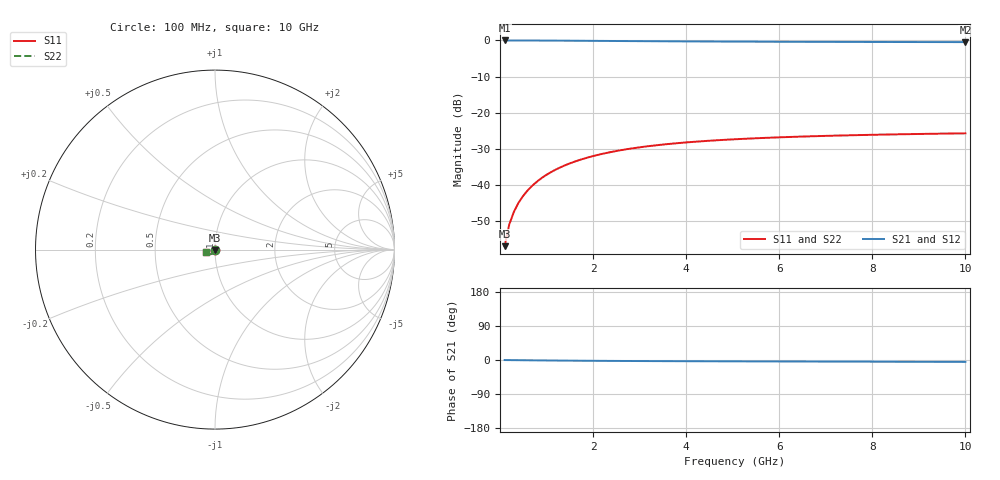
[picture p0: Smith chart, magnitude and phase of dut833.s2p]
! Touchstone file exported from HFSS 2024.1.0
!  File:  C:/UserFiles/LocalFiles/RDL_TSV_Batchsim/temp_TSV1_833_1779879455.aedt
!  Generated:  07:02:36 PM May 27, 2026
!  Design:  TSV1
!  Project:  temp_TSV1_833_1779879455
!  Setup:  Setup1
!  Solution:  Sweep
! Variables:
!  dtsv = 11.9um
!  hbump = 3um
!  htsv = 77.64um
!  lrdl = 252.1521522um
!  p = 40
!  p1 = 47.31um
!  t = 500um
!  trdl = 3um
!  wrdl = 24.89489489um
# GHz S MA R 50.000000
! Terminal data exported
! Port[1] = TSV22_T1
! Port[2] = TSV22_T2
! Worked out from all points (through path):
!   100 points, 100 MHz to 10 GHz, reference 50 ohm
!   highest |S21| = 0.00 dB at 100 MHz (marker M1); lowest = -0.5 dB at 10 GHz (marker M2)
!   lowest |S11| = -56.9 dB at 100 MHz (marker M3), VSWR 1.00, Z = 50 - j0.143 ohm
!   |S11| at or under -10 dB: start of sweep to end of sweep
!   |S22| runs from -56.9 to -25.7 dB; largest |S21 - S12| = 3.5e-15
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0.1  0.001431 -87.6  0.9999 -0.1  0.9999 -0.1  0.001431 -87.6
! Gamma 0 0 0 0
! Port Impedance 50 0 50 0
0.2  0.002858 -91.1  0.9997 -0.3  0.9997 -0.3  0.002858 -91.1
0.3  0.004284 -93.3  0.9995 -0.4  0.9995 -0.4  0.004284 -93.3
0.4  0.005705 -95.3  0.9992 -0.5  0.9992 -0.5  0.005705 -95.3
0.5  0.007116 -97.1  0.9988 -0.6  0.9988 -0.6  0.007116 -97.1
0.6  0.008512 -98.9  0.9984 -0.7  0.9984 -0.7  0.008512 -98.9
0.7  0.009889 -100.6  0.9978 -0.9  0.9978 -0.9  0.009889 -100.6
0.8  0.01124 -102.3  0.9973 -1.0  0.9973 -1.0  0.01124 -102.3
0.9  0.01258 -103.9  0.9966 -1.1  0.9966 -1.1  0.01258 -103.9
1.1  0.01516 -107.1  0.9952 -1.3  0.9952 -1.3  0.01516 -107.1
1.4  0.0188 -111.7  0.9928 -1.6  0.9928 -1.6  0.0188 -111.7
1.6  0.02107 -114.6  0.991 -1.8  0.991 -1.8  0.02107 -114.6
1.8  0.0232 -117.3  0.9891 -2.0  0.9891 -2.0  0.0232 -117.3
2.1  0.02614 -121.2  0.9863 -2.2  0.9863 -2.2  0.02614 -121.2
2.5  0.02961 -125.9  0.9825 -2.5  0.9825 -2.5  0.02961 -125.9
2.9  0.03261 -130.2  0.9789 -2.7  0.9789 -2.7  0.03261 -130.2
3.4  0.03579 -134.9  0.9747 -3.0  0.9747 -3.0  0.03579 -134.9
4.2  0.03981 -141.4  0.9689 -3.3  0.9689 -3.3  0.03981 -141.4
5.1  0.0432 -147.4  0.9636 -3.6  0.9636 -3.6  0.0432 -147.4
6.7  0.04733 -155.7  0.9567 -4.1  0.9567 -4.1  0.04733 -155.7
8.4  0.05016 -162.4  0.9518 -4.6  0.9518 -4.6  0.05016 -162.4
10  0.05201 -167.6  0.9485 -5.0  0.9485 -5.0  0.05201 -167.6
